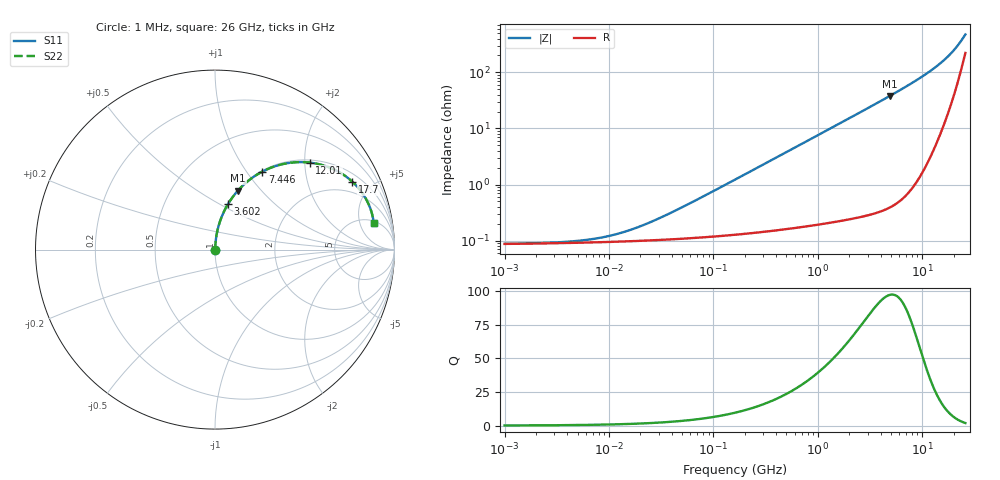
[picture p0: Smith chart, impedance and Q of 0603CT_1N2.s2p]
# MHz  S  MA  R  50
!Freq  MagS11  AngS11  MagS21  AngS21  MagS12  AngS12  MagS22  AngS22
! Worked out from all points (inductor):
!   1023 points, 1 MHz to 26 GHz, reference 50 ohm
!   read as one part in series: L = 1.2 nH near 42.58 MHz
!   highest Q = 97.3 at 4.903 GHz (marker M1), where L = 1.23 nH
!   S11 on the Smith chart (normalised r, x): 1 MHz: 1.00, +0.00; 3.602 GHz: 1.01, +0.55; 7.446 GHz: 1.01, +1.19; 12.01 GHz: 1.06, +2.11; 17.7 GHz: 1.37, +3.82; 26 GHz: 5.44, +8.35
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1  0.0008766 4.9  0.9991 -0.0  0.9991 -0.0  0.0008766 4.9
2.786772  0.0009204 13.2  0.9991 -0.0  0.9991 -0.0  0.0009204 13.2
5.482201  0.001008 24.2  0.9991 -0.0  0.9991 -0.0  0.001008 24.2
8.49367  0.001136 34.2  0.9991 -0.0  0.9991 -0.0  0.001136 34.2
12.64592  0.001353 44.7  0.999 -0.1  0.999 -0.1  0.001353 44.7
19.01633  0.00174 55.3  0.999 -0.1  0.999 -0.1  0.00174 55.3
29.75695  0.002465 65.3  0.999 -0.1  0.999 -0.1  0.002465 65.3
57.95895  0.004501 75.6  0.9989 -0.3  0.9989 -0.3  0.004501 75.6
161.5184  0.01223 83.3  0.9987 -0.7  0.9987 -0.7  0.01223 83.3
424.0287  0.03195 85.4  0.998 -1.8  0.998 -1.8  0.03195 85.4
885.4763  0.06657 84.6  0.9959 -3.8  0.9959 -3.8  0.06657 84.6
1886.259  0.141 81.0  0.9877 -8.1  0.9877 -8.1  0.141 81.0
3601.56  0.2646 74.0  0.9614 -15.3  0.9614 -15.3  0.2646 74.0
4806.295  0.3468 69.1  0.9344 -20.3  0.9344 -20.3  0.3468 69.1
4902.902  0.3532 68.7  0.9319 -20.7  0.9319 -20.7  0.3532 68.7
7446.478  0.5086 58.7  0.8549 -30.6  0.8549 -30.6  0.5086 58.7
9645.098  0.6206 50.6  0.7732 -38.4  0.7732 -38.4  0.6206 50.6
12005.41  0.7163 42.6  0.6771 -45.7  0.6771 -45.7  0.7163 42.6
14503.84  0.7915 34.9  0.5729 -52.2  0.5729 -52.2  0.7915 34.9
17697.44  0.8537 26.3  0.4451 -58.2  0.4451 -58.2  0.8537 26.3
20959.16  0.8865 18.8  0.3284 -60.7  0.3284 -60.7  0.8865 18.8
26000  0.8969 9.6  0.1897 -52.4  0.1897 -52.4  0.8969 9.6
